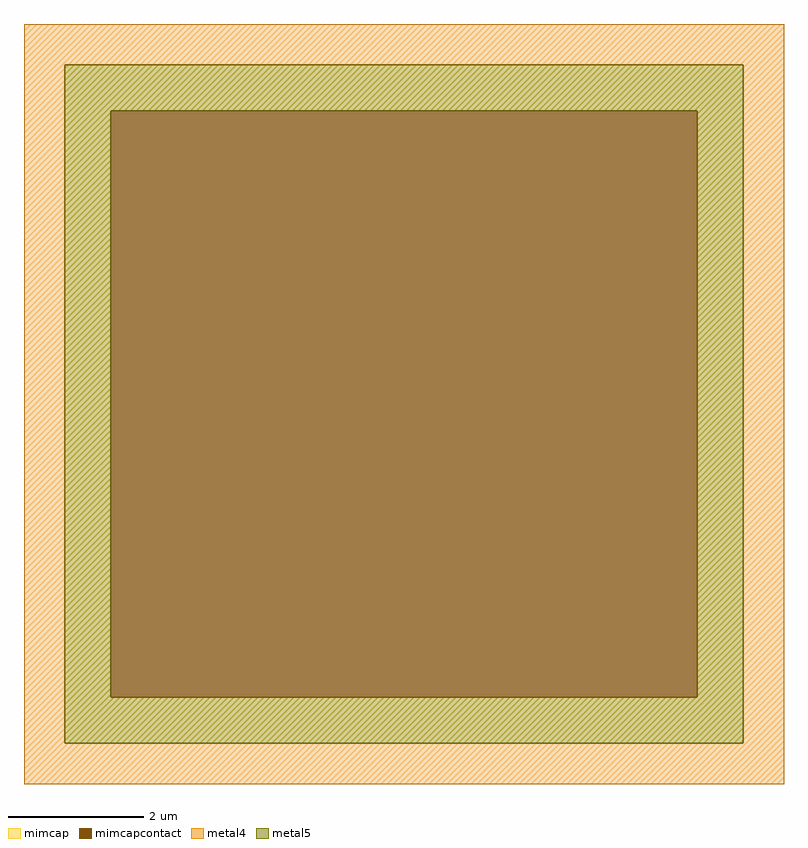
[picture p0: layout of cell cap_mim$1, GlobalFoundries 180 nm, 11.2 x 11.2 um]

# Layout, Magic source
magic
tech gf180mcuD
magscale 1 5
<< mimcap >>
rect 0 932 1000 1000
rect 0 68 68 932
rect 932 68 1000 932
rect 0 0 1000 68
<< mimcapcontact >>
rect 68 68 932 932
<< metal4 >>
rect -60 1000 1060 1060
rect -60 0 0 1000
rect 1000 0 1060 1000
rect -60 -60 1060 0
<< metal5 >>
rect 0 932 1000 1000
rect 0 68 68 932
rect 932 68 1000 932
rect 0 0 1000 68
<< end >>
